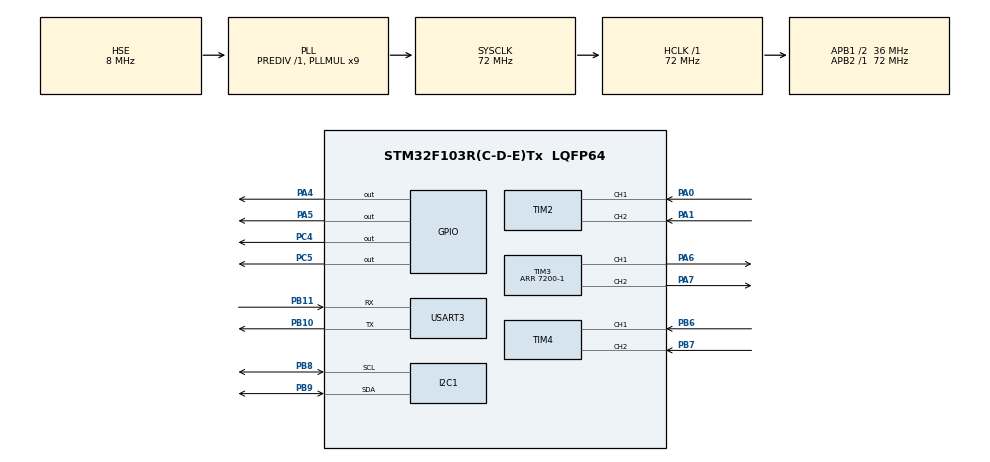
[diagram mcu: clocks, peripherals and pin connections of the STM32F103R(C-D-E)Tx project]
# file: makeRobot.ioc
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FREERTOS.Tasks01=defaultTask,24,256,StartDefaultTask,Default,NULL,Dynamic,NULL,NULL;myTaskMotor,8,384,StartTaskMotor,Default,NULL,Dynamic,NULL,NULL
Mcu.Family=STM32F1
Mcu.Name=STM32F103R(C-D-E)Tx
Mcu.Package=LQFP64
NVIC.PriorityGroup=NVIC_PRIORITYGROUP_4
NVIC.TIM6_IRQn=true\:15\:0\:false\:false\:true\:false\:false\:true\:true
NVIC.TimeBase=TIM6_IRQn
NVIC.TimeBaseIP=TIM6
NVIC.USART3_IRQn=true\:5\:0\:false\:false\:true\:true\:true\:true\:true
PA0-WKUP.Signal=S_TIM2_CH1_ETR
PA1.Signal=S_TIM2_CH2
PA13.Mode=Serial_Wire
PA13.Signal=SYS_JTMS-SWDIO
PA14.Mode=Serial_Wire
PA14.Signal=SYS_JTCK-SWCLK
PA4.Signal=GPIO_Output
PA5.Signal=GPIO_Output
PA6.Signal=S_TIM3_CH1
PA7.Signal=S_TIM3_CH2
PB10.Mode=Asynchronous
PB10.Signal=USART3_TX
PB11.Mode=Asynchronous
PB11.Signal=USART3_RX
PB6.Signal=S_TIM4_CH1
PB7.Signal=S_TIM4_CH2
PB8.Mode=I2C
PB8.Signal=I2C1_SCL
PB9.Mode=I2C
PB9.Signal=I2C1_SDA
PC4.Signal=GPIO_Output
PC5.Signal=GPIO_Output
PD0-OSC_IN.Mode=HSE-External-Oscillator
PD0-OSC_IN.Signal=RCC_OSC_IN
PD1-OSC_OUT.Mode=HSE-External-Oscillator
PD1-OSC_OUT.Signal=RCC_OSC_OUT
ProjectManager.HeapSize=0x200
ProjectManager.StackSize=0x400
ProjectManager.TargetToolchain=SW4STM32
RCC.AHBFreq_Value=72000000
RCC.APB1CLKDivider=RCC_HCLK_DIV2
RCC.APB1Freq_Value=36000000
RCC.APB1TimFreq_Value=72000000
RCC.APB2Freq_Value=72000000
RCC.APB2TimFreq_Value=72000000
RCC.HCLKFreq_Value=72000000
RCC.PLLMUL=RCC_PLL_MUL9
RCC.PLLSourceVirtual=RCC_PLLSOURCE_HSE
RCC.SYSCLKFreq_VALUE=72000000
RCC.SYSCLKSource=RCC_SYSCLKSOURCE_PLLCLK
RCC.USBFreq_Value=72000000
SH.S_TIM2_CH1_ETR.0=TIM2_CH1,Encoder_Interface
SH.S_TIM2_CH2.0=TIM2_CH2,Encoder_Interface
SH.S_TIM3_CH1.0=TIM3_CH1,PWM Generation1 CH1
SH.S_TIM3_CH2.0=TIM3_CH2,PWM Generation2 CH2
SH.S_TIM4_CH1.0=TIM4_CH1,Encoder_Interface
SH.S_TIM4_CH2.0=TIM4_CH2,Encoder_Interface
TIM2.EncoderMode=TIM_ENCODERMODE_TI12
TIM2.IC1Filter=10
TIM2.IC2Filter=10
TIM3.Channel-PWM\ Generation1\ CH1=TIM_CHANNEL_1
TIM3.Channel-PWM\ Generation2\ CH2=TIM_CHANNEL_2
TIM3.Period=7200-1
TIM4.EncoderMode=TIM_ENCODERMODE_TI12
TIM4.IC1Filter=10
TIM4.IC2Filter=10
USART3.VirtualMode=VM_ASYNC
VP_FREERTOS_VS_CMSIS_V2.Mode=CMSIS_V2
VP_SYS_VS_tim6.Mode=TIM6
board=custom

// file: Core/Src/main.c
/* USER CODE BEGIN Header */
/**
  ******************************************************************************
  * @file           : main.c
  * @brief          : Main program body
  ******************************************************************************
  * @attention
  *
  * Copyright (c) 2022 STMicroelectronics.
  * All rights reserved.
  *
  * This software is licensed under terms that can be found in the LICENSE file
  * in the root directory of this software component.
  * If no LICENSE file comes with this software, it is provided AS-IS.
  *
  ******************************************************************************
  */
/* USER CODE END Header */
#include "main.h"
#include "cmsis_os.h"
#include "i2c.h"
#include "tim.h"
#include "usart.h"
#include "gpio.h"

void SystemClock_Config(void);
void MX_FREERTOS_Init(void);

int main(void)
{

  /* MCU Configuration--------------------------------------------------------*/

  /* Reset of all peripherals, Initializes the Flash interface and the Systick. */
  HAL_Init();

  /* Configure the system clock */
  SystemClock_Config();

  /* Initialize all configured peripherals */
  MX_GPIO_Init();
  MX_USART3_UART_Init();
  MX_TIM2_Init();
  MX_TIM3_Init();
  MX_TIM4_Init();
  MX_I2C1_Init();

  /* Init scheduler */
  osKernelInitialize();  /* Call init function for freertos objects (in freertos.c) */
  MX_FREERTOS_Init();
  /* Start scheduler */
  osKernelStart();

  /* We should never get here as control is now taken by the scheduler */
  /* Infinite loop */
  while (1)
  {

  }
}

void SystemClock_Config(void)
{
  RCC_OscInitTypeDef RCC_OscInitStruct = {0};
  RCC_ClkInitTypeDef RCC_ClkInitStruct = {0};

  /** Initializes the RCC Oscillators according to the specified parameters
  * in the RCC_OscInitTypeDef structure.
  */
  RCC_OscInitStruct.OscillatorType = RCC_OSCILLATORTYPE_HSE;
  RCC_OscInitStruct.HSEState = RCC_HSE_ON;
  RCC_OscInitStruct.HSEPredivValue = RCC_HSE_PREDIV_DIV1;
  RCC_OscInitStruct.HSIState = RCC_HSI_ON;
  RCC_OscInitStruct.PLL.PLLState = RCC_PLL_ON;
  RCC_OscInitStruct.PLL.PLLSource = RCC_PLLSOURCE_HSE;
  RCC_OscInitStruct.PLL.PLLMUL = RCC_PLL_MUL9;
  if (HAL_RCC_OscConfig(&RCC_OscInitStruct) != HAL_OK)
  {
    Error_Handler();
  }
  /** Initializes the CPU, AHB and APB buses clocks
  */
  RCC_ClkInitStruct.ClockType = RCC_CLOCKTYPE_HCLK|RCC_CLOCKTYPE_SYSCLK
                              |RCC_CLOCKTYPE_PCLK1|RCC_CLOCKTYPE_PCLK2;
  RCC_ClkInitStruct.SYSCLKSource = RCC_SYSCLKSOURCE_PLLCLK;
  RCC_ClkInitStruct.AHBCLKDivider = RCC_SYSCLK_DIV1;
  RCC_ClkInitStruct.APB1CLKDivider = RCC_HCLK_DIV2;
  RCC_ClkInitStruct.APB2CLKDivider = RCC_HCLK_DIV1;

  if (HAL_RCC_ClockConfig(&RCC_ClkInitStruct, FLASH_LATENCY_2) != HAL_OK)
  {
    Error_Handler();
  }
}

void HAL_TIM_PeriodElapsedCallback(TIM_HandleTypeDef *htim)
{
  if (htim->Instance == TIM6) {
    HAL_IncTick();
  }
}

void Error_Handler(void)
{
  __disable_irq();
  while (1)
  {
  }
}

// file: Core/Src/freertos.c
/* USER CODE BEGIN Header */
/**
  ******************************************************************************
  * File Name          : freertos.c
  * Description        : Code for freertos applications
  ******************************************************************************
  * @attention
  *
  * Copyright (c) 2022 STMicroelectronics.
  * All rights reserved.
  *
  * This software is licensed under terms that can be found in the LICENSE file
  * in the root directory of this software component.
  * If no LICENSE file comes with this software, it is provided AS-IS.
  *
  ******************************************************************************
  */
/* USER CODE END Header */

#include "FreeRTOS.h"
#include "task.h"
#include "main.h"
#include "cmsis_os.h"

/* USER CODE BEGIN Includes */
#include "user/motor.h"
#include "user/data_trans.h"
#include "user/debug_com.h"
#include "user/oled.h"

/* USER CODE END Includes */

/* USER CODE BEGIN Variables */
motorInfoType motorInfoList[2];
carInfoType carInfo;

/* USER CODE END Variables */
/* Definitions for defaultTask */
osThreadId_t defaultTaskHandle;
const osThreadAttr_t defaultTask_attributes = {
  .name = "defaultTask",
  .stack_size = 256 * 4,
  .priority = (osPriority_t) osPriorityNormal,
};
/* Definitions for myTaskMotor */
osThreadId_t myTaskMotorHandle;
const osThreadAttr_t myTaskMotor_attributes = {
  .name = "myTaskMotor",
  .stack_size = 384 * 4,
  .priority = (osPriority_t) osPriorityLow,
};

void StartDefaultTask(void *argument);
void StartTaskMotor(void *argument);

void MX_FREERTOS_Init(void); /* (MISRA C 2004 rule 8.1) */

void MX_FREERTOS_Init(void) {
  /* USER CODE BEGIN Init */
  carInfo.x = 0;
  carInfo.y = 0;
  carInfo.z = 0;
  init_motorInfo(&motorInfoList[0], htim2, htim3, TIM_CHANNEL_2, GPIOC, GPIO_PIN_4, GPIOC, GPIO_PIN_5);
  init_motorInfo(&motorInfoList[1], htim4, htim3, TIM_CHANNEL_1, GPIOA, GPIO_PIN_5, GPIOA, GPIO_PIN_4);
//  HAL_GPIO_WritePin(GPIOA, GPIO_PIN_5, GPIO_PIN_RESET);
//  HAL_GPIO_WritePin(GPIOA, GPIO_PIN_4, GPIO_PIN_SET);
//  HAL_GPIO_WritePin(GPIOC, GPIO_PIN_4, GPIO_PIN_RESET);
//  HAL_GPIO_WritePin(GPIOC, GPIO_PIN_5, GPIO_PIN_SET);

  start_data();
  start_motor(motorInfoList, 2);

//  OLED_Init();
//  OLED_preFlash();
//  OLED_flash_format();

  /* USER CODE END Init */

  /* Create the thread(s) */
  /* creation of defaultTask */
  defaultTaskHandle = osThreadNew(StartDefaultTask, NULL, &defaultTask_attributes);

  /* creation of myTaskMotor */
  myTaskMotorHandle = osThreadNew(StartTaskMotor, NULL, &myTaskMotor_attributes);

}

void StartDefaultTask(void *argument)
{
  /* USER CODE BEGIN StartDefaultTask */
  motorInfoList[0].pidInfo.TGT = 20;
  motorInfoList[1].pidInfo.TGT = -20;
  /* Infinite loop */
  for(;;)
  {
//    printf("ENC\tTGT\tPWM\n");
//    for(int i=0; i<2; i++){
//      printf("%-4d\t%-4d\t%-6d\n", motorInfoList[i].pidInfo.ENC, motorInfoList[i].pidInfo.TGT, motorInfoList[i].pidInfo.PWM);
//    }
//    printf("\n");
//    printf("%d,%d,%d\r\n",motorInfoList[0].pidInfo.PWM/1000, motorInfoList[0].pidInfo.ENC, motorInfoList[0].pidInfo.TGT);
    printf("%d,%d\r\n",motorInfoList[0].pidInfo.ENC, motorInfoList[0].pidInfo.TGT);
//    show_info(motorInfoList[0].pidInfo.ENC, 1+8*6, 0);
    osDelay(10);
  }
  /* USER CODE END StartDefaultTask */
}

void StartTaskMotor(void *argument)
{
  /* USER CODE BEGIN StartTaskMotor */
  /* Infinite loop */
  for(;;)
  {
//    Kinematic_Analysis_4(motorInfoList, &carInfo);
    motor_run(motorInfoList, 2);
    osDelay(10);
  }
  /* USER CODE END StartTaskMotor */
}
